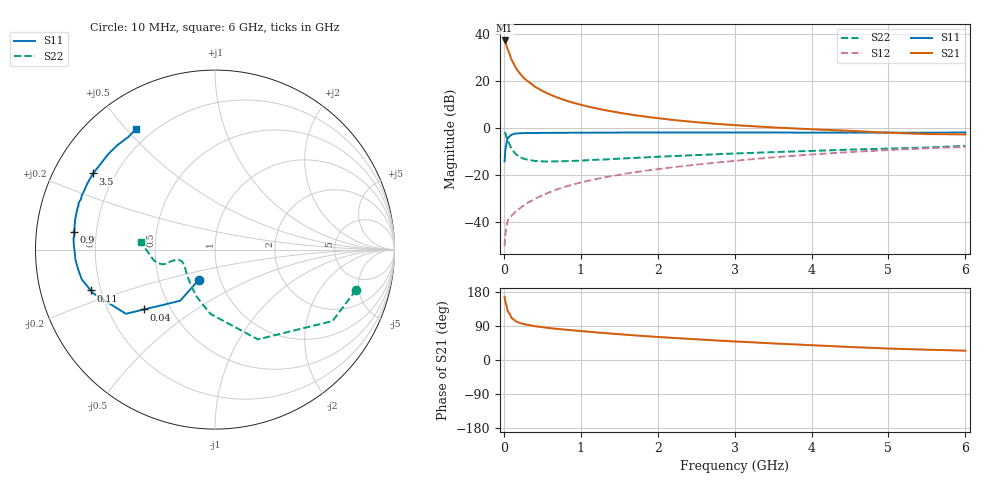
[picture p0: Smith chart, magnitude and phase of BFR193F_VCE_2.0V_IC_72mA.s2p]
! Infineon Technologies  Discrete & RF Semiconductors
! BFR193F
! VCE =  2.0 V,  IC =  72 mA
! Common Emitter S-Parameters:  Jan 2017
# GHz  S  MA  R  50
!  f  S11  S21  S12  S22
! GHz  MAG  ANG  MAG  ANG  MAG  ANG  MAG  ANG
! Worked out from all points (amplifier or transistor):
!   77 points, 10 MHz to 6 GHz, reference 50 ohm
!   highest |S21| = 37.4 dB at 10 MHz (marker M1)
!   |S21| within 3 dB of that: start of sweep to 42.2 MHz
!   unconditionally stable (mu >= 1): 414 MHz to 2.889 GHz
!   at 130 MHz: K = 0.66, MSG = 31.9 dB, |S12| = -36.4 dB
!   at 2.2 GHz: K = 1.05, MAG = 8.8 dB, |S12| = -16.8 dB
!   at 6 GHz: K = 0.91, MSG = 2.7 dB, |S12| = -8.1 dB
!   S11 on the Smith chart (normalised r, x): 10 MHz: 0.79, -0.28; 40 MHz: 0.36, -0.32; 110 MHz: 0.16, -0.16; 900 MHz: 0.12, +0.06; 3.5 GHz: 0.12, +0.28; 6 GHz: 0.14, +0.53
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0.01  0.1935 -118.3  73.78 166.5  0.003 78.5  0.8168 -16.0
0.02  0.3451 -124.3  68.21 153.7  0.0053 68.7  0.7664 -31.3
0.04  0.5173 -139.9  53.48 139.0  0.0088 55.9  0.5997 -51.0
0.05  0.6115 -144.2  48.02 128.6  0.0106 52.7  0.5541 -64.5
0.1  0.7215 -160.3  28.63 110.6  0.0133 50.5  0.3589 -94.1
0.11  0.7283 -161.8  26.86 109.5  0.0139 51.0  0.3414 -96.9
0.15  0.7602 -167.3  19.91 102.9  0.0163 52.6  0.2819 -111.2
0.2  0.7695 -171.3  15.14 98.2  0.0188 56.2  0.2446 -122.1
0.25  0.7753 -174.1  12.17 95.2  0.0217 60.5  0.2221 -131.1
0.3  0.7797 -176.0  10.22 92.9  0.0247 63.2  0.2119 -137.0
0.4  0.7819 -179.0  7.684 89.2  0.0304 67.5  0.1985 -145.8
0.5  0.7852 179.1  6.173 86.6  0.0364 70.2  0.1933 -151.2
0.7  0.7906 175.5  4.436 81.9  0.0493 72.8  0.1939 -157.6
0.9  0.7935 172.7  3.467 78.1  0.0622 74.2  0.198 -161.3
1.1  0.7937 170.3  2.851 74.6  0.0748 75.0  0.2055 -162.9
1.6  0.7985 164.9  1.99 66.5  0.1068 75.2  0.2254 -165.3
2.1  0.8005 160.3  1.551 59.6  0.1386 74.4  0.2472 -165.2
3.1  0.8007 151.5  1.125 48.0  0.2057 71.6  0.2891 -164.0
3.5  0.8009 148.0  1.025 43.7  0.2356 69.9  0.3053 -164.4
4.1  0.7961 142.1  0.924 38.1  0.2786 66.3  0.3279 -167.1
5.1  0.795 131.8  0.781 29.6  0.3435 59.5  0.367 -176.2
6  0.8034 123.1  0.729 24.6  0.3942 53.4  0.4149 174.4
